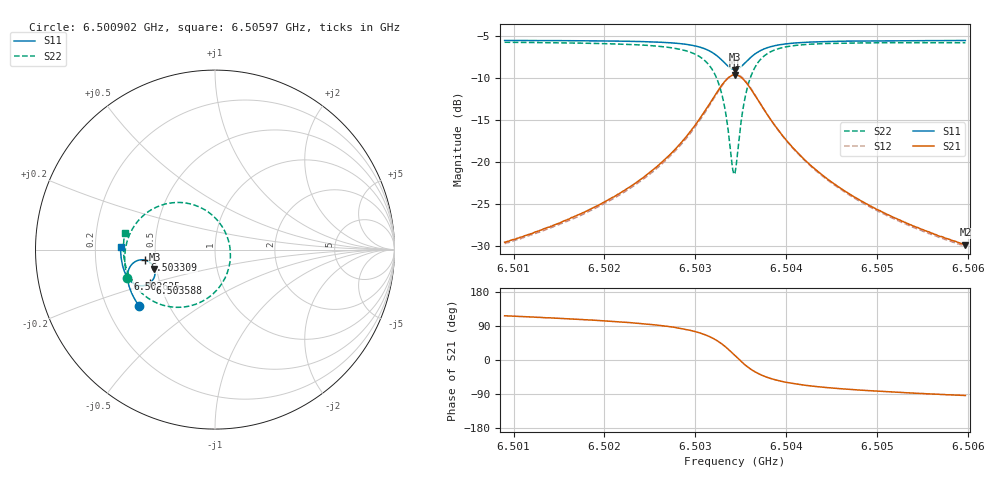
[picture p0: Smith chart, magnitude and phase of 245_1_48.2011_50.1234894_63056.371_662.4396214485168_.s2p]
#  HZ  S  RI  R  50.00
! Rohde & Schwarz Vector Network Analyzer
! Rohde-Schwarz,ZNB20-2Port,1311601062101988,3.16
! Created: UTC 3/20/2024, 11:47:01 AM
! freq[Hz]  re:S11  im:S11  re:S21  im:S21  re:S12  im:S12  re:S22  im:S22
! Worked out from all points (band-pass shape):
!   401 points, 6.500902 GHz to 6.50597 GHz, reference 50 ohm
!   highest |S21| = -9.66 dB at 6.503436 GHz (marker M1); lowest = -29.8 dB at 6.50597 GHz (marker M2)
!   |S21| within 3 dB of the highest: 6.503182 GHz to 6.503689 GHz (506.5 kHz wide, 0.00779 % of centre)
!   lowest |S11| = -9.0 dB at 6.503436 GHz (marker M3), VSWR 2.10, Z = 24.3 - j5.99 ohm
!   |S11| at or under -10 dB: nowhere
!   |S22| runs from -21.5 to -5.8 dB; largest |S21 - S12| = 0.011
!   S11 on the Smith chart (normalised r, x): 6.500902 GHz: 0.34, -0.29; 6.502625 GHz: 0.33, -0.15; 6.503309 GHz: 0.44, -0.06; 6.503588 GHz: 0.44, -0.20; 6.50597 GHz: 0.31, +0.01
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6.500902e9  -0.424 -0.3122  -0.015 0.0298  -0.0133 0.0299  -0.4887 -0.1585
6.5017509e9  -0.4609 -0.2501  -0.0144 0.0473  -0.0121 0.0469  -0.5027 -0.0688
6.5021943e9  -0.4766 -0.2111  -0.0117 0.0654  -0.00876 0.0644  -0.5004 -0.00708
6.5025998e9  -0.4867 -0.167  -0.00251 0.0961  0.00115 0.0937  -0.4807 0.0724
6.5026251e9  -0.4869 -0.1637  -0.00133 0.0987  0.00239 0.0964  -0.4783 0.0787
6.5029165e9  -0.4833 -0.119  0.0258 0.1425  0.0296 0.1382  -0.4215 0.1678
6.5031066e9  -0.4621 -0.0809  0.0799 0.1847  0.0824 0.1785  -0.318 0.2401
6.5032206e9  -0.4296 -0.0603  0.149 0.202  0.1499 0.1959  -0.1937 0.2625
6.5033093e9  -0.3892 -0.0587  0.2285 0.1857  0.2287 0.1806  -0.0564 0.2215
6.5033473e9  -0.37 -0.0663  0.2648 0.1624  0.2655 0.1578  0.00343 0.1743
6.5034107e9  -0.3434 -0.0931  0.3122 0.0983  0.3147 0.0932  0.0747 0.0507
6.503436e9  -0.3371 -0.1078  0.3223 0.0659  0.3255 0.0602  0.0852 -0.00952
6.5034613e9  -0.3342 -0.1234  0.3257 0.0321  0.3291 0.0252  0.083 -0.071
6.5035247e9  -0.3414 -0.1605  0.3072 -0.0455  0.3092 -0.0554  0.0267 -0.2058
6.503588e9  -0.3627 -0.1864  0.2641 -0.0992  0.2628 -0.1106  -0.0705 -0.288
6.5036894e9  -0.4022 -0.2014  0.1894 -0.135  0.1841 -0.1446  -0.2204 -0.3214
6.5038541e9  -0.4482 -0.1917  0.108 -0.1317  0.101 -0.1368  -0.367 -0.2743
6.5040315e9  -0.4756 -0.1703  0.0638 -0.1117  0.0576 -0.114  -0.4387 -0.2093
6.5042849e9  -0.4962 -0.1403  0.0338 -0.0874  0.0291 -0.088  -0.4818 -0.1373
6.5046523e9  -0.5113 -0.1021  0.0153 -0.0648  0.0119 -0.0645  -0.5037 -0.0646
6.5051338e9  -0.5211 -0.0575  0.00501 -0.0478  0.00267 -0.0471  -0.5103 0.0032
6.50597e9  -0.526 0.013  -0.00203 -0.0321  -0.00337 -0.0314  -0.5022 0.0913
